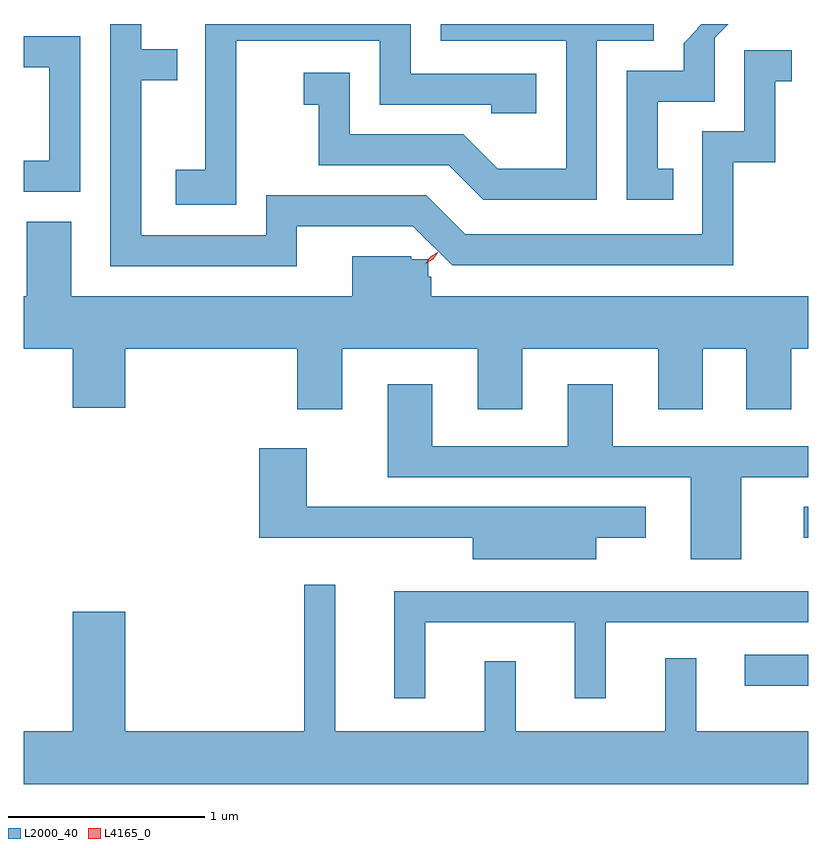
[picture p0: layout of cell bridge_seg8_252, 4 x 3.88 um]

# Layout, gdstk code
import gdstk
lib = gdstk.Library(unit=1e-6, precision=1e-09)
def R(c, l, rs):  # rectangles x0, y0, x1, y1
    for r in rs: c.add(gdstk.rectangle(r[:2], r[2:], *l))
def P(c, l, *ps):  # polygons
    for p in ps: c.add(gdstk.Polygon(p, *l))
L2000_40 = (2000, 40)
L4165_0 = (4165, 0)

bridge_seg8_252 = lib.new_cell('bridge_seg8_252')
R(bridge_seg8_252, L2000_40, [(1117.603,1830.256,1117.926,1830.414), (1117.903,1831.011,1117.926,1831.169)])
P(bridge_seg8_252, L2000_40, [(1115.009,1833.546),(1115.741,1833.546),(1115.741,1833.221),(1116.311,1833.221),(1116.311,1833.176),(1116.539,1833.176),(1116.539,1833.379),(1115.899,1833.379),(1115.899,1833.632),(1114.851,1833.632),(1114.851,1832.889),(1114.701,1832.889),(1114.701,1832.711),(1115.009,1832.711)],
  [(1117.238,1832.894),(1117.159,1832.894),(1117.159,1833.236),(1117.449,1833.236),(1117.449,1833.563),(1117.518,1833.632),(1117.381,1833.632),(1117.36,1833.611),(1117.364,1833.607),(1117.291,1833.534),(1117.291,1833.394),(1117.001,1833.394),(1117.001,1832.736),(1117.238,1832.736)],
  [(1115.319,1832.601),(1115.91,1832.601),(1116.11,1832.401),(1117.544,1832.401),(1117.544,1832.926),(1117.759,1832.926),(1117.759,1833.341),(1117.843,1833.341),(1117.843,1833.499),(1117.601,1833.499),(1117.601,1833.084),(1117.386,1833.084),(1117.386,1832.559),(1116.177,1832.559),(1115.977,1832.759),(1115.161,1832.759),(1115.161,1832.554),(1114.524,1832.554),(1114.524,1833.346),(1114.708,1833.346),(1114.708,1833.504),(1114.524,1833.504),(1114.524,1833.632),(1114.366,1833.632),(1114.366,1832.396),(1115.319,1832.396)],
  [(1116.849,1833.546),(1117.139,1833.546),(1117.139,1833.632),(1116.051,1833.632),(1116.051,1833.546),(1116.691,1833.546),(1116.691,1832.894),(1116.342,1832.894),(1116.167,1833.069),(1115.589,1833.069),(1115.589,1833.384),(1115.353,1833.384),(1115.353,1833.221),(1115.431,1833.221),(1115.431,1832.911),(1116.094,1832.911),(1116.269,1832.736),(1116.849,1832.736)],
  [(1114.214,1833.569),(1113.926,1833.569),(1113.926,1833.411),(1114.056,1833.411),(1114.056,1832.934),(1113.926,1832.934),(1113.926,1832.776),(1114.214,1832.776)],
  [(1116.005,1832.343),(1115.989,1832.343),(1115.989,1832.433),(1115.901,1832.433),(1115.901,1832.448),(1115.601,1832.448),(1115.601,1832.244),(1114.169,1832.244),(1114.169,1832.624),(1113.941,1832.624),(1113.941,1832.244),(1113.926,1832.244),(1113.926,1831.976),(1114.176,1831.976),(1114.176,1831.676),(1114.444,1831.676),(1114.444,1831.976),(1115.321,1831.976),(1115.321,1831.666),(1115.549,1831.666),(1115.549,1831.976),(1116.241,1831.976),(1116.241,1831.666),(1116.469,1831.666),(1116.469,1831.976),(1117.161,1831.976),(1117.161,1831.666),(1117.389,1831.666),(1117.389,1831.976),(1117.611,1831.976),(1117.611,1831.666),(1117.839,1831.666),(1117.839,1831.976),(1117.926,1831.976),(1117.926,1832.244),(1116.005,1832.244)],
  [(1117.584,1831.321),(1117.926,1831.321),(1117.926,1831.479),(1116.929,1831.479),(1116.929,1831.794),(1116.701,1831.794),(1116.701,1831.479),(1116.009,1831.479),(1116.009,1831.794),(1115.781,1831.794),(1115.781,1831.321),(1117.326,1831.321),(1117.326,1830.901),(1117.584,1830.901)],
  [(1116.844,1831.011),(1117.098,1831.011),(1117.098,1831.169),(1115.369,1831.169),(1115.369,1831.469),(1115.126,1831.469),(1115.126,1831.011),(1116.216,1831.011),(1116.216,1830.901),(1116.844,1830.901)],
  [(1117.926,1830.024),(1117.354,1830.024),(1117.354,1830.398),(1117.196,1830.398),(1117.196,1830.024),(1116.434,1830.024),(1116.434,1830.383),(1116.276,1830.383),(1116.276,1830.024),(1115.514,1830.024),(1115.514,1830.773),(1115.356,1830.773),(1115.356,1830.024),(1114.444,1830.024),(1114.444,1830.634),(1114.176,1830.634),(1114.176,1830.024),(1113.926,1830.024),(1113.926,1829.756),(1117.926,1829.756)],
  [(1115.974,1830.581),(1116.736,1830.581),(1116.736,1830.193),(1116.894,1830.193),(1116.894,1830.581),(1117.926,1830.581),(1117.926,1830.739),(1115.816,1830.739),(1115.816,1830.193),(1115.974,1830.193)])
P(bridge_seg8_252, L4165_0, [(1115.973,1832.407),(1115.973,1832.408),(1115.998,1832.445),(1116.037,1832.469),(1116.038,1832.469),(1116.038,1832.468),(1116.012,1832.431),(1115.974,1832.407)],
  [(1115.977,1832.411),(1115.977,1832.411),(1116,1832.446),(1116.035,1832.467),(1116.036,1832.467),(1116.036,1832.466),(1116.014,1832.432),(1115.978,1832.411)])

lib.write_gds('bridge_seg8_252.gds')
